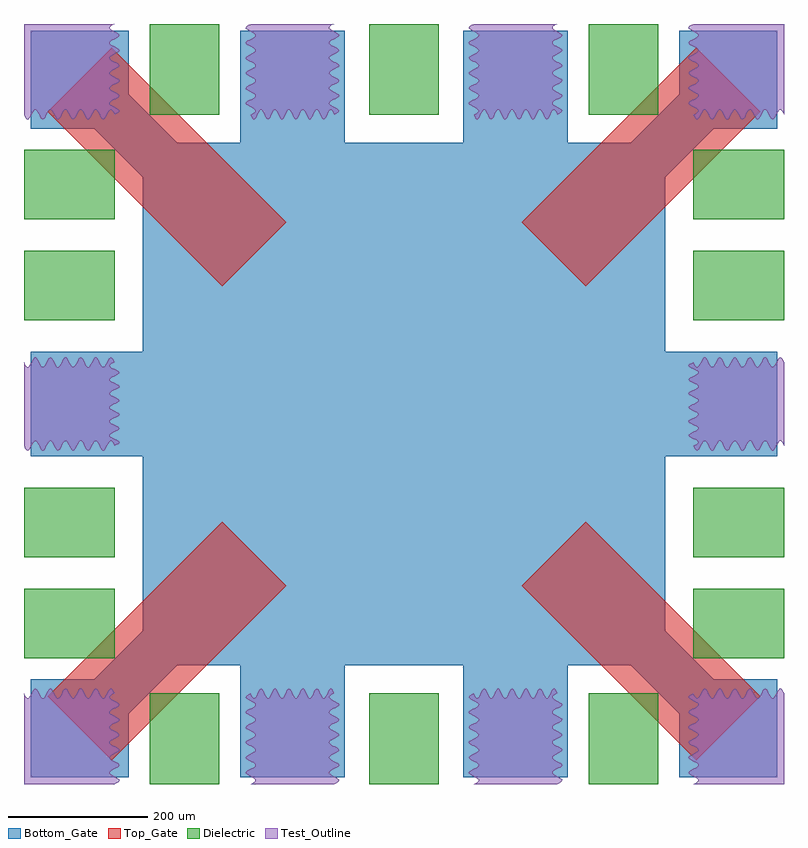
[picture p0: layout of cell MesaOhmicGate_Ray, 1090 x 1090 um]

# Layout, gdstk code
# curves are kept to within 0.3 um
from math import pi, radians
import gdstk
lib = gdstk.Library(unit=1e-6, precision=1e-09)
def R(c, l, rs):  # rectangles x0, y0, x1, y1
    for r in rs: c.add(gdstk.rectangle(r[:2], r[2:], *l))
def P(c, l, *ps):  # polygons
    for p in ps: c.add(gdstk.Polygon(p, *l))
Bottom_Gate = (2, 0)
Test_Outline = (3, 0)
Dielectric = (4, 0)
Top_Gate = (5, 0)

singleohmiccontact_2_2 = lib.new_cell('SingleOhmicContact$2$2')
P(singleohmiccontact_2_2, Test_Outline, [(-65,-65),(-65,65),(-62.374,60.169),(-61.061,58.633),(-59.747,58.008),(-58.434,58.385),(-55.808,61.792),(-50.556,71.062),(-49.242,71.929),(-47.929,71.803),(-45.303,68.784),(-40.051,59.298),(-38.737,58.197),(-37.424,58.071),(-36.111,58.938),(-34.798,60.673),(-29.545,70.29),(-28.232,71.615),(-26.919,71.992),(-25.606,71.367),(-24.293,69.831),(-19.04,60.169),(-17.727,58.633),(-16.414,58.008),(-15.101,58.385),(-13.788,59.71),(-7.222,71.062),(-5.909,71.929),(-4.596,71.803),(-1.97,68.784),(3.283,59.298),(4.596,58.197),(5.909,58.071),(7.222,58.938),(8.535,60.673),(13.788,70.29),(15.101,71.615),(16.414,71.992),(17.727,71.367),(19.04,69.831),(24.293,60.169),(25.606,58.633),(26.919,58.008),(28.232,58.385),(29.545,59.71),(34.798,69.327),(36.111,71.062),(37.424,71.929),(38.737,71.803),(40.051,70.702),(46.616,59.298),(47.929,58.197),(49.242,58.071),(50.556,58.938),(51.869,60.673),(57.121,70.29),(58.434,71.615),(59.747,71.992),(61.061,71.367),(62.374,69.831),(65,65),(60.169,62.374),(58.633,61.061),(58.008,59.747),(58.385,58.434),(61.792,55.808),(69.327,51.869),(71.062,50.556),(71.929,49.242),(71.803,47.929),(70.702,46.616),(59.298,40.051),(58.197,38.737),(58.071,37.424),(58.938,36.111),(60.673,34.798),(70.29,29.545),(71.615,28.232),(71.992,26.919),(71.367,25.606),(69.831,24.293),(60.169,19.04),(58.633,17.727),(58.008,16.414),(58.385,15.101),(59.71,13.788),(69.327,8.535),(71.062,7.222),(71.929,5.909),(71.803,4.596),(70.702,3.283),(59.298,-3.283),(58.197,-4.596),(58.071,-5.909),(58.938,-7.222),(60.673,-8.535),(70.29,-13.788),(71.615,-15.101),(71.992,-16.414),(71.367,-17.727),(69.831,-19.04),(60.169,-24.293),(58.633,-25.606),(58.008,-26.919),(58.385,-28.232),(59.71,-29.545),(69.327,-34.798),(71.062,-36.111),(71.929,-37.424),(71.803,-38.737),(70.702,-40.051),(59.298,-46.616),(58.197,-47.929),(58.071,-49.242),(58.938,-50.556),(60.673,-51.869),(70.29,-57.121),(71.615,-58.434),(71.992,-59.747),(71.367,-61.061),(69.831,-62.374),(65,-65)])

diagohmicmesa_1 = lib.new_cell('DiagOhmicMesa$1')
R(diagohmicmesa_1, Bottom_Gate, [(-70,-70,70,70)])
R(diagohmicmesa_1, Dielectric, [(100,-80,200,50), (-80,100,50,200)])
diagohmicmesa_1.add(gdstk.FlexPath([(0,0),(250,250)], 70, ends="flush", simple_path=True, layer=2, datatype=0))  # Bottom_Gate
diagohmicmesa_1.add(gdstk.FlexPath([(0,0),(250,250)], 130, ends="flush", simple_path=True, layer=5, datatype=0))  # Top_Gate
diagohmicmesa_1.add(gdstk.Reference(singleohmiccontact_2_2, (-15,-15)))

squaregatepad = lib.new_cell('SquareGatePad')
R(squaregatepad, Dielectric, [(-50,-65,50,65)])

singleohmiccontact_1 = lib.new_cell('SingleOhmicContact$1')

singleohmiccontact_3 = lib.new_cell('SingleOhmicContact$3')
P(singleohmiccontact_3, Test_Outline, [(-55.152,-71.992),(-56.364,-71.367),(-57.576,-69.831),(-60,-65),(-55.169,-62.374),(-53.633,-61.061),(-53.008,-59.747),(-53.385,-58.434),(-56.792,-55.808),(-64.327,-51.869),(-66.062,-50.556),(-66.929,-49.242),(-66.803,-47.929),(-65.702,-46.616),(-54.298,-40.051),(-53.197,-38.737),(-53.071,-37.424),(-53.938,-36.111),(-55.673,-34.798),(-65.29,-29.545),(-66.615,-28.232),(-66.992,-26.919),(-66.367,-25.606),(-64.831,-24.293),(-55.169,-19.04),(-53.633,-17.727),(-53.008,-16.414),(-53.385,-15.101),(-54.71,-13.788),(-64.327,-8.535),(-66.062,-7.222),(-66.929,-5.909),(-66.803,-4.596),(-65.702,-3.283),(-54.298,3.283),(-53.197,4.596),(-53.071,5.909),(-53.938,7.222),(-55.673,8.535),(-65.29,13.788),(-66.615,15.101),(-66.992,16.414),(-66.367,17.727),(-64.831,19.04),(-55.169,24.293),(-53.633,25.606),(-53.008,26.919),(-53.385,28.232),(-54.71,29.545),(-64.327,34.798),(-66.062,36.111),(-66.929,37.424),(-66.803,38.737),(-65.702,40.051),(-54.298,46.616),(-53.197,47.929),(-53.071,49.242),(-53.938,50.556),(-55.673,51.869),(-65.29,57.121),(-66.615,58.434),(-66.992,59.747),(-66.367,61.061),(-64.831,62.374),(-60,65),(60,65),(55.169,62.374),(53.633,61.061),(53.008,59.747),(53.385,58.434),(56.792,55.808),(66.062,50.556),(66.929,49.242),(66.803,47.929),(63.784,45.303),(54.298,40.051),(53.197,38.737),(53.071,37.424),(53.938,36.111),(55.673,34.798),(65.29,29.545),(66.615,28.232),(66.992,26.919),(66.367,25.606),(64.831,24.293),(55.169,19.04),(53.633,17.727),(53.008,16.414),(53.385,15.101),(54.71,13.788),(66.062,7.222),(66.929,5.909),(66.803,4.596),(63.784,1.97),(54.298,-3.283),(53.197,-4.596),(53.071,-5.909),(53.938,-7.222),(55.673,-8.535),(65.29,-13.788),(66.615,-15.101),(66.992,-16.414),(66.367,-17.727),(64.831,-19.04),(55.169,-24.293),(53.633,-25.606),(53.008,-26.919),(53.385,-28.232),(54.71,-29.545),(64.327,-34.798),(66.062,-36.111),(66.929,-37.424),(66.803,-38.737),(65.702,-40.051),(54.298,-46.616),(53.197,-47.929),(53.071,-49.242),(53.938,-50.556),(55.673,-51.869),(65.29,-57.121),(66.615,-58.434),(66.992,-59.747),(66.367,-61.061),(64.831,-62.374),(60,-65),(56.364,-58.633),(55.152,-58.008),(53.939,-58.385),(51.515,-61.792),(47.879,-69.327),(45.455,-71.929),(44.242,-71.803),(43.03,-70.702),(36.97,-59.298),(35.758,-58.197),(34.545,-58.071),(32.121,-60.673),(27.273,-70.29),(26.061,-71.615),(24.848,-71.992),(23.636,-71.367),(22.424,-69.831),(17.576,-60.169),(16.364,-58.633),(15.152,-58.008),(13.939,-58.385),(12.727,-59.71),(7.879,-69.327),(5.455,-71.929),(4.242,-71.803),(3.03,-70.702),(-3.03,-59.298),(-4.242,-58.197),(-5.455,-58.071),(-7.879,-60.673),(-12.727,-70.29),(-13.939,-71.615),(-15.152,-71.992),(-16.364,-71.367),(-17.576,-69.831),(-22.424,-60.169),(-23.636,-58.633),(-24.848,-58.008),(-26.061,-58.385),(-27.273,-59.71),(-32.121,-69.327),(-34.545,-71.929),(-35.758,-71.803),(-36.97,-70.702),(-43.03,-59.298),(-44.242,-58.197),(-45.455,-58.071),(-47.879,-60.673),(-52.727,-70.29),(-53.939,-71.615)])

ohmicmesa = lib.new_cell('OhmicMesa')
R(ohmicmesa, Bottom_Gate, [(-75,-80,75,80)])
ohmicmesa.add(gdstk.Reference(singleohmiccontact_1, (0,25)))
ohmicmesa.add(gdstk.Reference(singleohmiccontact_3, (0,25)))

mesaohmicgate_ray = lib.new_cell('MesaOhmicGate_Ray')
R(mesaohmicgate_ray, Bottom_Gate, [(-375,-375,375,375)])
P(mesaohmicgate_ray, Dielectric, [(-491.375,309),(-491.375,309),(-491.375,309),(-491.375,309)])
mesaohmicgate_ray.add(gdstk.Reference(diagohmicmesa_1, (465,465), rotation=pi))
mesaohmicgate_ray.add(gdstk.Reference(diagohmicmesa_1, (-465,-465)))
r = gdstk.Reference(squaregatepad, (480,170), rotation=pi/2); r.repetition = gdstk.Repetition(1, 2, v1=(0,0), v2=(-960,0)); mesaohmicgate_ray.add(r)
mesaohmicgate_ray.add(gdstk.Reference(ohmicmesa, (-455,0), rotation=pi/2))
mesaohmicgate_ray.add(gdstk.Reference(ohmicmesa, (-160,-455), rotation=pi))
mesaohmicgate_ray.add(gdstk.Reference(ohmicmesa, (160,-455), rotation=pi))
mesaohmicgate_ray.add(gdstk.Reference(ohmicmesa, (455,0), rotation=3*pi/2))
mesaohmicgate_ray.add(gdstk.Reference(squaregatepad, (-480,-170), rotation=pi/2))
mesaohmicgate_ray.add(gdstk.Reference(ohmicmesa, (160,455)))
mesaohmicgate_ray.add(gdstk.Reference(ohmicmesa, (-160,455)))
r = gdstk.Reference(squaregatepad, (0,-480)); r.repetition = gdstk.Repetition(1, 2, v1=(0,0), v2=(0,960)); mesaohmicgate_ray.add(r)
mesaohmicgate_ray.add(gdstk.Reference(diagohmicmesa_1, (465,-465), rotation=pi/2))
mesaohmicgate_ray.add(gdstk.Reference(diagohmicmesa_1, (-465,465), rotation=3*pi/2))
mesaohmicgate_ray.add(gdstk.Reference(squaregatepad, (480,-170), rotation=3*pi/2))

lib.write_gds('MesaOhmicGate_Ray.gds')
